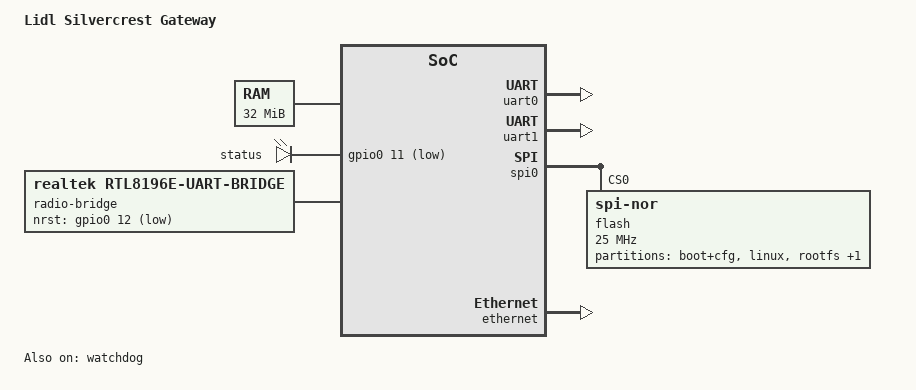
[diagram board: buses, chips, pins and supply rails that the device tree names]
// SPDX-License-Identifier: GPL-2.0
/dts-v1/;
#include <dt-bindings/gpio/gpio.h>
#include "rtl819x.dtsi"

/ {
	compatible = "realtek,rtl8196e", "realtek,rtl819x-soc";
	model = "Lidl Silvercrest Gateway";

	chosen {
	    bootargs = "console=ttyS0,38400 loglevel=7 root=/dev/mtdblock2 rootfstype=squashfs";
	};

	memory@0 {
		device_type = "memory";
		reg = <0x00000000 0x02000000>;  /* 32MB */
	};

	reserved-memory {
		#address-cells = <1>;
		#size-cells = <1>;
		ranges;

		/* Bootloader hand-off words. The bootloader address is a board
		 * contract, so a different DRAM layout must retain this label and
		 * relocate the matching bootloader constant as well. */
		boothold: boothold@1ffe000 {
			reg = <0x01FFE000 0x1000>;
			no-map;
		};

		/* Dedicated fixed-size watchdog post-mortem record. Keeping this
		 * separate from boothold prevents either consumer from overwriting
		 * the other after a warm watchdog reset. */
		wdtcrash: watchdog-crash@1ffd000 {
			reg = <0x01FFD000 0x1000>;
			no-map;
		};
	};

	leds {
		compatible = "gpio-leds-pwm";

		status-led {
			label = "status";
			gpios = <&gpio0 11 GPIO_ACTIVE_LOW>;
			default-state = "off";
		};

		/* LAN LED uses pad B6 / LED_PORT4 (see realtek,led-pads below).
		 * The Ethernet driver routes it to the ASIC for bright/dim and
		 * to an inactive GPIO output for a true off state. */
	};

	/* Board wiring of the EFR32 radio link, consumed by the in-kernel
	 * rtl8196e-uart-bridge at init to seed its defaults.  Module
	 * parameters (kernel cmdline or sysfs) override these values.
	 * The node is optional: without it the driver falls back to the
	 * Lidl defaults (nRST on GPIO 12 / pad B4, hardware flow control).
	 * No platform driver binds here — the bridge looks the node up by
	 * compatible; the resulting unbound platform device is harmless.
	 *
	 * realtek,hw-flow-control: a board-capability boolean — present means
	 * the EFR32 UART has RTS/CTS physically wired (the Lidl case). It sets
	 * the flow_control default to hw and caps it (an hw request on a board
	 * without it is clamped to sw). It is NOT a firmware-mode selection:
	 * the runtime mode is chosen via radio.conf FIRMWARE_FLOW_CTRL, which
	 * S50uart_bridge/S70otbr write to the sysfs flow_control knob. */
	radio-bridge {
		compatible = "realtek,rtl8196e-uart-bridge";
		nrst-gpios = <&gpio0 12 (GPIO_ACTIVE_LOW | GPIO_OPEN_DRAIN)>;
		realtek,hw-flow-control;
	};
};

/* Activation de l'UART0 pour la console */
&uart0 {
	status = "okay";
};

&uart1 {
	status = "okay";
};

&gpio0 {
	status = "okay";

	/* Board-level names for the SoC GPIO lines (ports A..D, 8 bits
	 * each).  Userspace finds lines by name through the GPIO cdev
	 * (s40button looks up "reset-button"), so a different board only
	 * needs to move the names — no code change.  Unwired lines stay
	 * empty. */
	gpio-line-names =
		"", "", "", "", "", "", "", "",			/* A0-A7  */
		"", "reset-button", "", "status-led",		/* B0-B3  */
		"efr32-nrst", "", "", "",			/* B4-B7  */
		"", "", "", "", "", "", "", "",			/* C0-C7  */
		"", "", "", "", "", "", "", "";			/* D0-D7  */

	/* Shared pads B2-B6 (lines 10-14) that the board wires to the
	 * switch's link/activity LED outputs.  The ethernet driver muxes
	 * listed pads to the ASIC LED function (PIN_MUX_SEL_2 field 0b00),
	 * named pads to GPIO, and pads in neither set to unclaimed GPIO
	 * (Hi-Z).  On both known boards the LED pad follows the Table 36
	 * pad<->LED_PORTn naming for the member port (Lidl: port 4 ->
	 * B6/LED_PORT4, Sengled G4: port 0 -> B2/LED_PORT0), but it stays
	 * declared rather than derived from member-ports: it is a wiring
	 * fact a port mask cannot prove (a member port may have no LED
	 * wired), and only a visual check does — this value first shipped
	 * as B2 and the dead LED was caught by eye, not by register
	 * readback (#126).  Boards overriding gpio-line-names must also
	 * override this property (the Sengled G4 does).  Without it every
	 * unnamed pad falls back to the ASIC LED function. */
	realtek,led-pads = <14>;			/* B6: LAN LED */
};

&watchdog {
	status = "okay";
	/* Optional compact post-mortem record. The watchdog remains usable
	 * without this reservation, but no panic summary survives the reset. */
	memory-region = <&wdtcrash>;
};

/* Configuration SPI Flash */
&spi0 {
	status = "okay";
	
	flash@0 {
		compatible = "jedec,spi-nor";
		reg = <0>;
		spi-max-frequency = <25000000>;
		
		partitions {
			compatible = "fixed-partitions";
			#address-cells = <1>;
			#size-cells = <1>;
			
			partition@0 {
				label = "boot+cfg";
				reg = <0x000000 0x020000>;      /* 128 KB */
				read-only;
			};
			
			partition@20000 {
				label = "linux";
				reg = <0x020000 0x1e0000>;      /* 1920 KB (1.9 MB) */
			};
			
			partition@200000 {
				label = "rootfs";
				reg = <0x200000 0x200000>;      /* 2 MB  */
			};

			partition@420000 {
				label = "jffs2-fs";
				reg = <0x400000 0xc00000>;      /* 12 MB */
			};
		};
	};
};

/* Ethernet configuration */
&ethernet {
	status = "okay";
	#address-cells = <1>;
	#size-cells = <0>;
	lan-led-gpios = <&gpio0 14 GPIO_ACTIVE_LOW>;	/* B6 / LED_PORT4 */

	/* DT v3.0: Full VLAN configuration with multi-interface support
	 * Each child node represents one network interface (eth0, eth1, etc.)
	 * Replaces hardcoded vlanconfig[] array in rtl_nic.c:260-267
	 */

	interface@0 {
		reg = <0>;
		ifname = "eth0";

		/* No local-mac-address: driver randomises at boot.
		 * S10network generates a stable locally-administered MAC on first
		 * boot, persists it to /userdata/etc/mac_address, and restores it
		 * on every subsequent boot via "ifconfig eth0 hw ether <mac>". */

		/* VLAN configuration */
		vlan-id = <1>;              /* VLAN ID (VID) */
		forwarding-id = <0>;        /* Forwarding database ID (FID) */
		member-ports = <0x10>;      /* Port mask: 0x10 = port 4 (bit 4 set) */
		untag-ports = <0x10>;       /* Untagged port mask: port 4 untagged */
		is-wan = <0>;               /* 0 = LAN interface, 1 = WAN interface */
		mtu = <1500>;               /* Maximum transmission unit */
	};

	/* Example for future eth1/WAN interface:
	 *
	 * interface@1 {
	 *     reg = <1>;
	 *     ifname = "eth1";
	 *     local-mac-address = [02 14 B8 EE B7 55];
	 *     vlan-id = <2>;
	 *     forwarding-id = <0>;
	 *     member-ports = <0x20>;    // Port 5 (bit 5)
	 *     untag-ports = <0x20>;
	 *     is-wan = <1>;             // WAN interface
	 *     mtu = <1500>;
	 * };
	 */
};
